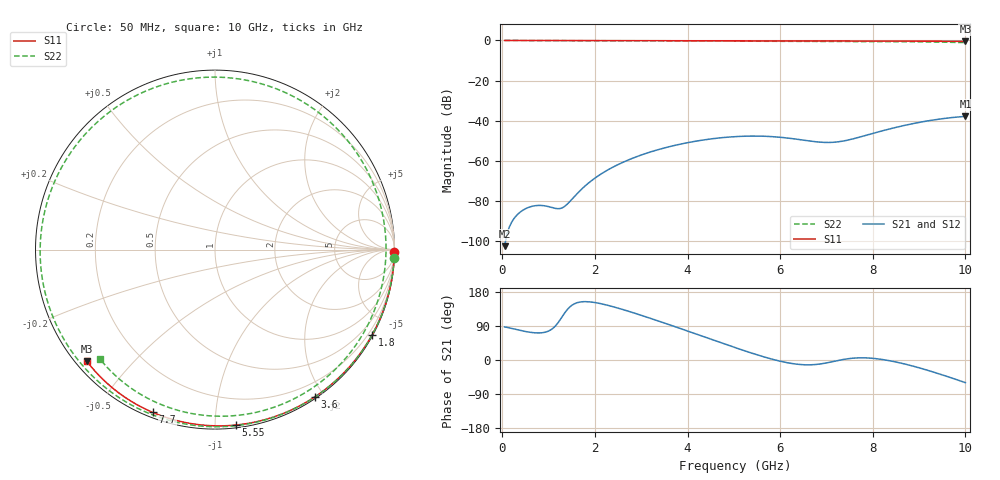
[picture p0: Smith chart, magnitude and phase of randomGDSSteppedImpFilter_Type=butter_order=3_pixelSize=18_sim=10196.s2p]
! freq	dB(S11)	phase(S11)	dB(S12)	phase(S12)
!  dB(S21)	phase(S21)	dB(S22)	phase(S22)
!S-par simulation data
#  GHz  S  DB  R 50
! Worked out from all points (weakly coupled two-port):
!   200 points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, 50 MHz to 10 GHz, reference 50 ohm
!   highest |S21| = -37.88 dB at 10 GHz (marker M1); lowest = -102.6 dB at 50 MHz (marker M2)
!   lowest |S11| = -0.5 dB at 10 GHz (marker M3), VSWR 36.78, Z = 1.55 - j18.7 ohm
!   |S11| at or under -10 dB: nowhere
!   |S22| runs from -1.1 to 0.0 dB; largest |S21 - S12| = 0
!   S11 on the Smith chart (normalised r, x): 50 MHz: open; 1.8 GHz: 0.03, -3.93; 3.6 GHz: 0.02, -1.89; 5.55 GHz: 0.02, -1.13; 7.7 GHz: 0.02, -0.69; 10 GHz: 0.03, -0.37
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0.05  -0.00 -0.8  -102.59 87.2  -102.59 87.2  -0.00 -2.6
0.7  -0.01 -11.2  -82.44 71.8  -82.44 71.8  -0.04 -35.0
1.45  -0.03 -23.1  -80.53 139.2  -80.53 139.2  -0.09 -71.5
1.75  -0.04 -27.8  -73.34 153.9  -73.34 153.9  -0.11 -85.8
1.8  -0.04 -28.6  -72.31 154.0  -72.31 154.0  -0.11 -88.2
2.55  -0.05 -40.1  -61.34 135.1  -61.34 135.1  -0.15 -123.3
3  -0.06 -46.9  -57.13 118.0  -57.13 118.0  -0.18 -144.4
3.4  -0.07 -52.9  -54.23 101.7  -54.23 101.7  -0.20 -163.4
3.6  -0.08 -55.8  -53.01 93.4  -53.01 93.4  -0.22 -173.1
3.95  -0.08 -60.9  -51.21 78.6  -51.21 78.6  -0.24 169.5
4.3  -0.09 -65.9  -49.77 63.7  -49.77 63.7  -0.27 151.5
4.65  -0.10 -70.8  -48.70 48.7  -48.70 48.7  -0.29 132.7
5.05  -0.12 -76.4  -47.93 31.9  -47.93 31.9  -0.32 110.3
5.55  -0.14 -83.2  -47.71 11.9  -47.71 11.9  -0.35 81.2
5.85  -0.15 -87.2  -48.00 1.4  -48.00 1.4  -0.37 63.3
6.2  -0.17 -91.8  -48.77 -8.2  -48.77 -8.2  -0.38 42.5
6.7  -0.19 -98.3  -50.33 -12.5  -50.33 -12.5  -0.41 13.4
7.15  -0.22 -104.0  -50.78 -3.9  -50.78 -3.9  -0.43 -11.4
7.7  -0.25 -110.9  -48.30 5.7  -48.30 5.7  -0.47 -39.3
8.35  -0.30 -119.0  -44.20 -1.6  -44.20 -1.6  -0.56 -69.2
9.15  -0.38 -128.7  -40.25 -25.9  -40.25 -25.9  -0.73 -102.6
10  -0.47 -138.9  -37.88 -59.7  -37.88 -59.7  -1.07 -136.6
